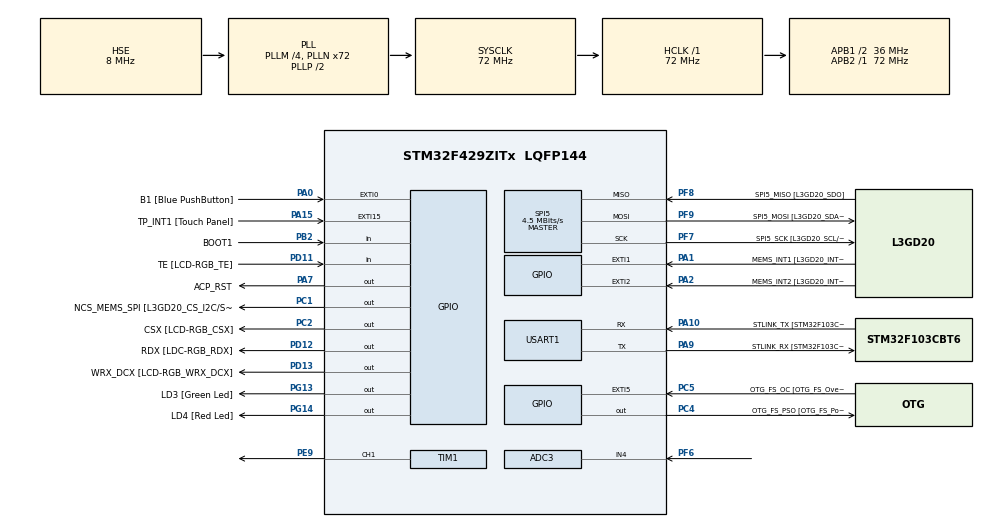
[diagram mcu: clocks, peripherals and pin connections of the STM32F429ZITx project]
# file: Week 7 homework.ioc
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ADC3.Channel-0\#ChannelRegularConversion=ADC_CHANNEL_4
ADC3.NbrOfConversionFlag=1
ADC3.Rank-0\#ChannelRegularConversion=1
ADC3.SamplingTime-0\#ChannelRegularConversion=ADC_SAMPLETIME_3CYCLES
Dma.Request0=TIM1_CH1
Dma.TIM1_CH1.0.Direction=DMA_MEMORY_TO_PERIPH
Dma.TIM1_CH1.0.FIFOMode=DMA_FIFOMODE_DISABLE
Dma.TIM1_CH1.0.Instance=DMA2_Stream1
Dma.TIM1_CH1.0.MemDataAlignment=DMA_MDATAALIGN_HALFWORD
Dma.TIM1_CH1.0.MemInc=DMA_MINC_ENABLE
Dma.TIM1_CH1.0.Mode=DMA_NORMAL
Dma.TIM1_CH1.0.PeriphDataAlignment=DMA_PDATAALIGN_HALFWORD
Dma.TIM1_CH1.0.PeriphInc=DMA_PINC_DISABLE
Dma.TIM1_CH1.0.Priority=DMA_PRIORITY_VERY_HIGH
Mcu.Family=STM32F4
Mcu.Name=STM32F429ZITx
Mcu.Package=LQFP144
NVIC.DMA2_Stream1_IRQn=true\:0\:0\:false\:false\:true\:false\:true\:true
NVIC.PriorityGroup=NVIC_PRIORITYGROUP_4
NVIC.TIM6_DAC_IRQn=true\:15\:0\:false\:false\:true\:false\:true\:true
NVIC.TimeBase=TIM6_DAC_IRQn
NVIC.TimeBaseIP=TIM6
PA0/WKUP.GPIO_Label=B1 [Blue PushButton]
PA0/WKUP.GPIO_ModeDefaultEXTI=GPIO_MODE_EVT_RISING
PA0/WKUP.GPIO_PuPd=GPIO_NOPULL
PA0/WKUP.Signal=GPXTI0
PA1.GPIO_Label=MEMS_INT1 [L3GD20_INT1]
PA1.GPIO_ModeDefaultEXTI=GPIO_MODE_EVT_RISING
PA1.GPIO_PuPd=GPIO_NOPULL
PA1.Signal=GPXTI1
PA10.GPIO_Label=STLINK_TX [STM32F103CBT6_PA2]
PA10.Mode=Asynchronous
PA10.Signal=USART1_RX
PA11.GPIO_Label=R4
PA11.GPIO_Mode=GPIO_MODE_AF_PP
PA11.GPIO_PuPd=GPIO_NOPULL
PA11.GPIO_Speed=GPIO_SPEED_FREQ_LOW
PA11.Signal=LTDC_R4
PA12.GPIO_Label=R5
PA12.GPIO_Mode=GPIO_MODE_AF_PP
PA12.GPIO_PuPd=GPIO_NOPULL
PA12.GPIO_Speed=GPIO_SPEED_FREQ_LOW
PA12.Signal=LTDC_R5
PA13.GPIO_Label=SWDIO
PA13.Mode=Serial_Wire
PA13.Signal=SYS_JTMS-SWDIO
PA14.GPIO_Label=SWCLK
PA14.Mode=Serial_Wire
PA14.Signal=SYS_JTCK-SWCLK
PA15.GPIO_Label=TP_INT1 [Touch Panel]
PA15.GPIO_ModeDefaultEXTI=GPIO_MODE_EVT_RISING
PA15.GPIO_PuPd=GPIO_NOPULL
PA15.Signal=GPXTI15
PA2.GPIO_Label=MEMS_INT2 [L3GD20_INT2]
PA2.GPIO_ModeDefaultEXTI=GPIO_MODE_EVT_RISING
PA2.GPIO_PuPd=GPIO_NOPULL
PA2.Signal=GPXTI2
PA3.GPIO_Label=B5
PA3.GPIO_Mode=GPIO_MODE_AF_PP
PA3.GPIO_PuPd=GPIO_NOPULL
PA3.GPIO_Speed=GPIO_SPEED_FREQ_LOW
PA3.Signal=LTDC_B5
PA4.GPIO_Label=VSYNC
PA4.GPIO_Mode=GPIO_MODE_AF_PP
PA4.GPIO_PuPd=GPIO_NOPULL
PA4.GPIO_Speed=GPIO_SPEED_FREQ_LOW
PA4.Signal=LTDC_VSYNC
PA6.GPIO_Label=G2
PA6.GPIO_Mode=GPIO_MODE_AF_PP
PA6.GPIO_PuPd=GPIO_NOPULL
PA6.GPIO_Speed=GPIO_SPEED_FREQ_LOW
PA6.Signal=LTDC_G2
PA7.GPIO_Label=ACP_RST
PA7.GPIO_Mode=GPIO_MODE_OUTPUT_PP
PA7.GPIO_PuPd=GPIO_NOPULL
PA7.GPIO_Speed=GPIO_SPEED_FREQ_LOW
PA7.Signal=GPIO_Output
PA8.GPIO_Label=I2C3_SCL [ACP/RF_SCL]
PA8.GPIO_Mode=GPIO_MODE_AF_OD
PA8.GPIO_Pu=GPIO_PULLUP
PA8.GPIO_PuPd=GPIO_NOPULL
PA8.GPIO_Speed=GPIO_SPEED_FREQ_LOW
PA8.Signal=I2C3_SCL
PA9.GPIO_Label=STLINK_RX [STM32F103CBT6_PA3]
PA9.Mode=Asynchronous
PA9.Signal=USART1_TX
PB0.GPIO_Label=R3
PB0.GPIO_Mode=GPIO_MODE_AF_PP
PB0.GPIO_PuPd=GPIO_NOPULL
PB0.GPIO_Speed=GPIO_SPEED_FREQ_LOW
PB0.Signal=LTDC_R3
PB1.GPIO_Label=R6
PB1.GPIO_Mode=GPIO_MODE_AF_PP
PB1.GPIO_PuPd=GPIO_NOPULL
PB1.GPIO_Speed=GPIO_SPEED_FREQ_LOW
PB1.Signal=LTDC_R6
PB10.GPIO_Label=G4
PB10.GPIO_Mode=GPIO_MODE_AF_PP
PB10.GPIO_PuPd=GPIO_NOPULL
PB10.GPIO_Speed=GPIO_SPEED_FREQ_LOW
PB10.Signal=LTDC_G4
PB11.GPIO_Label=G5
PB11.GPIO_Mode=GPIO_MODE_AF_PP
PB11.GPIO_PuPd=GPIO_NOPULL
PB11.GPIO_Speed=GPIO_SPEED_FREQ_LOW
PB11.Signal=LTDC_G5
PB12.GPIO_Label=OTG_HS_ID
PB12.GPIO_Mode=GPIO_MODE_AF_PP
PB12.GPIO_PuPd=GPIO_NOPULL
PB12.GPIO_Speed=GPIO_SPEED_FREQ_LOW
PB12.Signal=USB_OTG_HS_ID
PB13.GPIO_Label=VBUS_HS
PB13.GPIO_Mode=GPIO_MODE_INPUT
PB13.GPIO_PuPd=GPIO_NOPULL
PB13.Signal=USB_OTG_HS_VBUS
PB14.GPIO_Label=OTG_HS_DM
PB14.GPIO_Mode=GPIO_MODE_AF_PP
PB14.GPIO_PuPd=GPIO_NOPULL
PB14.GPIO_Speed=GPIO_SPEED_FREQ_LOW
PB14.Signal=USB_OTG_HS_DM
PB15.GPIO_Label=OTG_HS_DP
PB15.GPIO_Mode=GPIO_MODE_AF_PP
PB15.GPIO_PuPd=GPIO_NOPULL
PB15.GPIO_Speed=GPIO_SPEED_FREQ_LOW
PB15.Signal=USB_OTG_HS_DP
PB2/BOOT1.GPIO_Label=BOOT1
PB2/BOOT1.GPIO_Mode=GPIO_MODE_INPUT
PB2/BOOT1.GPIO_PuPd=GPIO_NOPULL
PB2/BOOT1.Signal=GPIO_Input
PB5.GPIO_Label=SDCKE1
PB5.GPIO_Mode=GPIO_MODE_AF_PP
PB5.GPIO_PuPd=GPIO_NOPULL
PB5.GPIO_Speed=GPIO_SPEED_FREQ_VERY_HIGH
PB5.Signal=FMC_SDCKE1
PB6.GPIO_Label=SDNE1 [SDRAM_CS]
PB6.GPIO_Mode=GPIO_MODE_AF_PP
PB6.GPIO_PuPd=GPIO_NOPULL
PB6.GPIO_Speed=GPIO_SPEED_FREQ_VERY_HIGH
PB6.Signal=FMC_SDNE1
PB8.GPIO_Label=B6
PB8.GPIO_Mode=GPIO_MODE_AF_PP
PB8.GPIO_PuPd=GPIO_NOPULL
PB8.GPIO_Speed=GPIO_SPEED_FREQ_LOW
PB8.Signal=LTDC_B6
PB9.GPIO_Label=B7
PB9.GPIO_Mode=GPIO_MODE_AF_PP
PB9.GPIO_PuPd=GPIO_NOPULL
PB9.GPIO_Speed=GPIO_SPEED_FREQ_LOW
PB9.Signal=LTDC_B7
PC0.GPIO_Label=SDNWE
PC0.GPIO_Mode=GPIO_MODE_AF_PP
PC0.GPIO_PuPd=GPIO_NOPULL
PC0.GPIO_Speed=GPIO_SPEED_FREQ_VERY_HIGH
PC0.Signal=FMC_SDNWE
PC1.GPIO_Label=NCS_MEMS_SPI [L3GD20_CS_I2C/SPI]
PC1.GPIO_Mode=GPIO_MODE_OUTPUT_PP
PC1.GPIO_PuPd=GPIO_NOPULL
PC1.GPIO_Speed=GPIO_SPEED_FREQ_LOW
PC1.Signal=GPIO_Output
PC10.GPIO_Label=R2
PC10.GPIO_Mode=GPIO_MODE_AF_PP
PC10.GPIO_PuPd=GPIO_NOPULL
PC10.GPIO_Speed=GPIO_SPEED_FREQ_LOW
PC10.Signal=LTDC_R2
PC14/OSC32_IN.GPIO_Label=PC14-OSC32_IN
PC14/OSC32_IN.Signal=RCC_OSC32_IN
PC15/OSC32_OUT.GPIO_Label=PC15-OSC32_OUT
PC15/OSC32_OUT.Signal=RCC_OSC32_OUT
PC2.GPIO_Label=CSX [LCD-RGB_CSX]
PC2.GPIO_Mode=GPIO_MODE_OUTPUT_PP
PC2.GPIO_PuPd=GPIO_NOPULL
PC2.GPIO_Speed=GPIO_SPEED_FREQ_LOW
PC2.Signal=GPIO_Output
PC4.GPIO_Label=OTG_FS_PSO [OTG_FS_PowerSwitchOn]
PC4.GPIO_Mode=GPIO_MODE_OUTPUT_PP
PC4.GPIO_PuPd=GPIO_NOPULL
PC4.GPIO_Speed=GPIO_SPEED_FREQ_LOW
PC4.Signal=GPIO_Output
PC5.GPIO_Label=OTG_FS_OC [OTG_FS_OverCurrent]
PC5.GPIO_ModeDefaultEXTI=GPIO_MODE_EVT_RISING
PC5.Signal=GPXTI5
PC6.GPIO_Label=HSYNC
PC6.GPIO_Mode=GPIO_MODE_AF_PP
PC6.GPIO_PuPd=GPIO_NOPULL
PC6.GPIO_Speed=GPIO_SPEED_FREQ_LOW
PC6.Signal=LTDC_HSYNC
PC7.GPIO_Label=G6
PC7.GPIO_Mode=GPIO_MODE_AF_PP
PC7.GPIO_PuPd=GPIO_NOPULL
PC7.GPIO_Speed=GPIO_SPEED_FREQ_LOW
PC7.Signal=LTDC_G6
PC9.GPIO_Label=I2C3_SDA [ACP/RF_SDA]
PC9.GPIO_Mode=GPIO_MODE_AF_OD
PC9.GPIO_Pu=GPIO_PULLUP
PC9.GPIO_PuPd=GPIO_NOPULL
PC9.GPIO_Speed=GPIO_SPEED_FREQ_LOW
PC9.Signal=I2C3_SDA
PD0.GPIO_Label=D2
PD0.GPIO_Mode=GPIO_MODE_AF_PP
PD0.GPIO_PuPd=GPIO_NOPULL
PD0.GPIO_Speed=GPIO_SPEED_FREQ_VERY_HIGH
PD0.Signal=FMC_D2_DA2
PD1.GPIO_Label=D3
PD1.GPIO_Mode=GPIO_MODE_AF_PP
PD1.GPIO_PuPd=GPIO_NOPULL
PD1.GPIO_Speed=GPIO_SPEED_FREQ_VERY_HIGH
PD1.Signal=FMC_D3_DA3
PD10.GPIO_Label=D15
PD10.GPIO_Mode=GPIO_MODE_AF_PP
PD10.GPIO_PuPd=GPIO_NOPULL
PD10.GPIO_Speed=GPIO_SPEED_FREQ_VERY_HIGH
PD10.Signal=FMC_D15_DA15
PD11.GPIO_Label=TE [LCD-RGB_TE]
PD11.GPIO_Mode=GPIO_MODE_INPUT
PD11.GPIO_PuPd=GPIO_NOPULL
PD11.Signal=GPIO_Input
PD12.GPIO_Label=RDX [LDC-RGB_RDX]
PD12.GPIO_Mode=GPIO_MODE_OUTPUT_PP
PD12.GPIO_PuPd=GPIO_NOPULL
PD12.GPIO_Speed=GPIO_SPEED_FREQ_LOW
PD12.Signal=GPIO_Output
PD13.GPIO_Label=WRX_DCX [LCD-RGB_WRX_DCX]
PD13.GPIO_Mode=GPIO_MODE_OUTPUT_PP
PD13.GPIO_PuPd=GPIO_NOPULL
PD13.GPIO_Speed=GPIO_SPEED_FREQ_LOW
PD13.Signal=GPIO_Output
PD14.GPIO_Label=D0
PD14.GPIO_Mode=GPIO_MODE_AF_PP
PD14.GPIO_PuPd=GPIO_NOPULL
PD14.GPIO_Speed=GPIO_SPEED_FREQ_VERY_HIGH
PD14.Signal=FMC_D0_DA0
PD15.GPIO_Label=D1
PD15.GPIO_Mode=GPIO_MODE_AF_PP
PD15.GPIO_PuPd=GPIO_NOPULL
PD15.GPIO_Speed=GPIO_SPEED_FREQ_VERY_HIGH
PD15.Signal=FMC_D1_DA1
PD3.GPIO_Label=G7
PD3.GPIO_Mode=GPIO_MODE_AF_PP
PD3.GPIO_PuPd=GPIO_NOPULL
PD3.GPIO_Speed=GPIO_SPEED_FREQ_LOW
PD3.Signal=LTDC_G7
PD6.GPIO_Label=B2
PD6.GPIO_Mode=GPIO_MODE_AF_PP
PD6.GPIO_PuPd=GPIO_NOPULL
PD6.GPIO_Speed=GPIO_SPEED_FREQ_LOW
PD6.Signal=LTDC_B2
PD8.GPIO_Label=D13
PD8.GPIO_Mode=GPIO_MODE_AF_PP
PD8.GPIO_PuPd=GPIO_NOPULL
PD8.GPIO_Speed=GPIO_SPEED_FREQ_VERY_HIGH
PD8.Signal=FMC_D13_DA13
PD9.GPIO_Label=D14
PD9.GPIO_Mode=GPIO_MODE_AF_PP
PD9.GPIO_PuPd=GPIO_NOPULL
PD9.GPIO_Speed=GPIO_SPEED_FREQ_VERY_HIGH
PD9.Signal=FMC_D14_DA14
PE0.GPIO_Label=NBL0 [SDRAM_LDQM]
PE0.GPIO_Mode=GPIO_MODE_AF_PP
PE0.GPIO_PuPd=GPIO_NOPULL
PE0.GPIO_Speed=GPIO_SPEED_FREQ_VERY_HIGH
PE0.Signal=FMC_NBL0
PE1.GPIO_Label=NBL1 [SDRAM_UDQM]
PE1.GPIO_Mode=GPIO_MODE_AF_PP
PE1.GPIO_PuPd=GPIO_NOPULL
PE1.GPIO_Speed=GPIO_SPEED_FREQ_VERY_HIGH
PE1.Signal=FMC_NBL1
PE10.GPIO_Label=D7
PE10.GPIO_Mode=GPIO_MODE_AF_PP
PE10.GPIO_PuPd=GPIO_NOPULL
PE10.GPIO_Speed=GPIO_SPEED_FREQ_VERY_HIGH
PE10.Signal=FMC_D7_DA7
PE11.GPIO_Label=D8
PE11.GPIO_Mode=GPIO_MODE_AF_PP
PE11.GPIO_PuPd=GPIO_NOPULL
PE11.GPIO_Speed=GPIO_SPEED_FREQ_VERY_HIGH
PE11.Signal=FMC_D8_DA8
PE12.GPIO_Label=D9
PE12.GPIO_Mode=GPIO_MODE_AF_PP
PE12.GPIO_PuPd=GPIO_NOPULL
PE12.GPIO_Speed=GPIO_SPEED_FREQ_VERY_HIGH
PE12.Signal=FMC_D9_DA9
PE13.GPIO_Label=D10
PE13.GPIO_Mode=GPIO_MODE_AF_PP
PE13.GPIO_PuPd=GPIO_NOPULL
PE13.GPIO_Speed=GPIO_SPEED_FREQ_VERY_HIGH
PE13.Signal=FMC_D10_DA10
PE14.GPIO_Label=D11
PE14.GPIO_Mode=GPIO_MODE_AF_PP
PE14.GPIO_PuPd=GPIO_NOPULL
PE14.GPIO_Speed=GPIO_SPEED_FREQ_VERY_HIGH
PE14.Signal=FMC_D11_DA11
PE15.GPIO_Label=D12
PE15.GPIO_Mode=GPIO_MODE_AF_PP
PE15.GPIO_PuPd=GPIO_NOPULL
PE15.GPIO_Speed=GPIO_SPEED_FREQ_VERY_HIGH
PE15.Signal=FMC_D12_DA12
PE7.GPIO_Label=D4
PE7.GPIO_Mode=GPIO_MODE_AF_PP
PE7.GPIO_PuPd=GPIO_NOPULL
PE7.GPIO_Speed=GPIO_SPEED_FREQ_VERY_HIGH
PE7.Signal=FMC_D4_DA4
PE8.GPIO_Label=D5
PE8.GPIO_Mode=GPIO_MODE_AF_PP
PE8.GPIO_PuPd=GPIO_NOPULL
PE8.GPIO_Speed=GPIO_SPEED_FREQ_VERY_HIGH
PE8.Signal=FMC_D5_DA5
PE9.Signal=S_TIM1_CH1
PF0.GPIO_Label=A0
PF0.GPIO_Mode=GPIO_MODE_AF_PP
PF0.GPIO_PuPd=GPIO_NOPULL
PF0.GPIO_Speed=GPIO_SPEED_FREQ_VERY_HIGH
PF0.Signal=FMC_A0
PF1.GPIO_Label=A1
PF1.GPIO_Mode=GPIO_MODE_AF_PP
PF1.GPIO_PuPd=GPIO_NOPULL
PF1.GPIO_Speed=GPIO_SPEED_FREQ_VERY_HIGH
PF1.Signal=FMC_A1
PF10.GPIO_Label=ENABLE [LCD-RGB_ENABLE]
PF10.GPIO_Mode=GPIO_MODE_AF_PP
PF10.GPIO_PuPd=GPIO_NOPULL
PF10.GPIO_Speed=GPIO_SPEED_FREQ_LOW
PF10.Signal=LTDC_DE
PF11.GPIO_Label=SDNRAS
PF11.GPIO_Mode=GPIO_MODE_AF_PP
PF11.GPIO_PuPd=GPIO_NOPULL
PF11.GPIO_Speed=GPIO_SPEED_FREQ_VERY_HIGH
PF11.Signal=FMC_SDNRAS
PF12.GPIO_Label=A6
PF12.GPIO_Mode=GPIO_MODE_AF_PP
PF12.GPIO_PuPd=GPIO_NOPULL
PF12.GPIO_Speed=GPIO_SPEED_FREQ_VERY_HIGH
PF12.Signal=FMC_A6
PF13.GPIO_Label=A7
PF13.GPIO_Mode=GPIO_MODE_AF_PP
PF13.GPIO_PuPd=GPIO_NOPULL
PF13.GPIO_Speed=GPIO_SPEED_FREQ_VERY_HIGH
PF13.Signal=FMC_A7
PF14.GPIO_Label=A8
PF14.GPIO_Mode=GPIO_MODE_AF_PP
PF14.GPIO_PuPd=GPIO_NOPULL
PF14.GPIO_Speed=GPIO_SPEED_FREQ_VERY_HIGH
PF14.Signal=FMC_A8
PF15.GPIO_Label=A9
PF15.GPIO_Mode=GPIO_MODE_AF_PP
PF15.GPIO_PuPd=GPIO_NOPULL
PF15.GPIO_Speed=GPIO_SPEED_FREQ_VERY_HIGH
PF15.Signal=FMC_A9
PF2.GPIO_Label=A2
PF2.GPIO_Mode=GPIO_MODE_AF_PP
PF2.GPIO_PuPd=GPIO_NOPULL
PF2.GPIO_Speed=GPIO_SPEED_FREQ_VERY_HIGH
PF2.Signal=FMC_A2
PF3.GPIO_Label=A3
PF3.GPIO_Mode=GPIO_MODE_AF_PP
PF3.GPIO_PuPd=GPIO_NOPULL
PF3.GPIO_Speed=GPIO_SPEED_FREQ_VERY_HIGH
PF3.Signal=FMC_A3
PF4.GPIO_Label=A4
PF4.GPIO_Mode=GPIO_MODE_AF_PP
PF4.GPIO_PuPd=GPIO_NOPULL
PF4.GPIO_Speed=GPIO_SPEED_FREQ_VERY_HIGH
PF4.Signal=FMC_A4
PF5.GPIO_Label=A5
PF5.GPIO_Mode=GPIO_MODE_AF_PP
PF5.GPIO_PuPd=GPIO_NOPULL
PF5.GPIO_Speed=GPIO_SPEED_FREQ_VERY_HIGH
PF5.Signal=FMC_A5
PF6.Mode=IN4
PF6.Signal=ADC3_IN4
PF7.GPIO_Label=SPI5_SCK [L3GD20_SCL/SPC]
PF7.GPIO_Mode=GPIO_MODE_AF_PP
PF7.GPIO_PuPd=GPIO_NOPULL
PF7.GPIO_Speed=GPIO_SPEED_FREQ_LOW
PF7.Mode=Full_Duplex_Master
PF7.Signal=SPI5_SCK
PF8.GPIO_Label=SPI5_MISO [L3GD20_SDO]
PF8.GPIO_Mode=GPIO_MODE_AF_PP
PF8.GPIO_PuPd=GPIO_NOPULL
PF8.GPIO_Speed=GPIO_SPEED_FREQ_LOW
PF8.Mode=Full_Duplex_Master
PF8.Signal=SPI5_MISO
PF9.GPIO_Label=SPI5_MOSI [L3GD20_SDA/SDI/SDO]
PF9.GPIO_Mode=GPIO_MODE_AF_PP
PF9.GPIO_PuPd=GPIO_NOPULL
PF9.GPIO_Speed=GPIO_SPEED_FREQ_LOW
PF9.Mode=Full_Duplex_Master
PF9.Signal=SPI5_MOSI
PG0.GPIO_Label=A10
PG0.GPIO_Mode=GPIO_MODE_AF_PP
PG0.GPIO_PuPd=GPIO_NOPULL
PG0.GPIO_Speed=GPIO_SPEED_FREQ_VERY_HIGH
PG0.Signal=FMC_A10
PG1.GPIO_Label=A11
PG1.GPIO_Mode=GPIO_MODE_AF_PP
PG1.GPIO_PuPd=GPIO_NOPULL
PG1.GPIO_Speed=GPIO_SPEED_FREQ_VERY_HIGH
PG1.Signal=FMC_A11
PG10.GPIO_Label=G3
PG10.GPIO_Mode=GPIO_MODE_AF_PP
PG10.GPIO_PuPd=GPIO_NOPULL
PG10.GPIO_Speed=GPIO_SPEED_FREQ_LOW
PG10.Signal=LTDC_G3
PG11.GPIO_Label=B3
PG11.GPIO_Mode=GPIO_MODE_AF_PP
PG11.GPIO_PuPd=GPIO_NOPULL
PG11.GPIO_Speed=GPIO_SPEED_FREQ_LOW
PG11.Signal=LTDC_B3
PG12.GPIO_Label=B4
PG12.GPIO_Mode=GPIO_MODE_AF_PP
PG12.GPIO_PuPd=GPIO_NOPULL
PG12.GPIO_Speed=GPIO_SPEED_FREQ_LOW
PG12.Signal=LTDC_B4
PG13.GPIO_Label=LD3 [Green Led]
PG13.GPIO_Mode=GPIO_MODE_OUTPUT_PP
PG13.GPIO_PuPd=GPIO_NOPULL
PG13.GPIO_Speed=GPIO_SPEED_FREQ_LOW
PG13.Signal=GPIO_Output
PG14.GPIO_Label=LD4 [Red Led]
PG14.GPIO_Mode=GPIO_MODE_OUTPUT_PP
PG14.GPIO_PuPd=GPIO_NOPULL
PG14.GPIO_Speed=GPIO_SPEED_FREQ_LOW
PG14.Signal=GPIO_Output
PG15.GPIO_Label=SDNCAS
PG15.GPIO_Mode=GPIO_MODE_AF_PP
PG15.GPIO_PuPd=GPIO_NOPULL
PG15.GPIO_Speed=GPIO_SPEED_FREQ_VERY_HIGH
PG15.Signal=FMC_SDNCAS
PG4.GPIO_Label=BA0
PG4.GPIO_Mode=GPIO_MODE_AF_PP
PG4.GPIO_PuPd=GPIO_NOPULL
PG4.GPIO_Speed=GPIO_SPEED_FREQ_VERY_HIGH
PG4.Signal=FMC_A14_BA0
PG5.GPIO_Label=BA1
PG5.GPIO_Mode=GPIO_MODE_AF_PP
PG5.GPIO_PuPd=GPIO_NOPULL
PG5.GPIO_Speed=GPIO_SPEED_FREQ_VERY_HIGH
PG5.Signal=FMC_A15_BA1
PG6.GPIO_Label=R7
PG6.GPIO_Mode=GPIO_MODE_AF_PP
PG6.GPIO_PuPd=GPIO_NOPULL
PG6.GPIO_Speed=GPIO_SPEED_FREQ_LOW
PG6.Signal=LTDC_R7
PG7.GPIO_Label=DOTCLK [LCT-RGB_DOTCLK]
PG7.GPIO_Mode=GPIO_MODE_AF_PP
PG7.GPIO_PuPd=GPIO_NOPULL
PG7.GPIO_Speed=GPIO_SPEED_FREQ_LOW
PG7.Signal=LTDC_CLK
PG8.GPIO_Label=SDCLK
PG8.GPIO_Mode=GPIO_MODE_AF_PP
PG8.GPIO_PuPd=GPIO_NOPULL
PG8.GPIO_Speed=GPIO_SPEED_FREQ_VERY_HIGH
PG8.Signal=FMC_SDCLK
PH0/OSC_IN.GPIO_Label=PH0-OSC_IN
PH0/OSC_IN.Mode=HSE-External-Oscillator
PH0/OSC_IN.Signal=RCC_OSC_IN
PH1/OSC_OUT.GPIO_Label=PH1-OSC_OUT
PH1/OSC_OUT.Mode=HSE-External-Oscillator
PH1/OSC_OUT.Signal=RCC_OSC_OUT
ProjectManager.HeapSize=0x200
ProjectManager.StackSize=0x400
ProjectManager.TargetToolchain=STM32CubeIDE
RCC.48MHZClocksFreq_Value=48000000
RCC.AHBFreq_Value=72000000
RCC.APB1CLKDivider=RCC_HCLK_DIV2
RCC.APB1Freq_Value=36000000
RCC.APB1TimFreq_Value=72000000
RCC.APB2Freq_Value=72000000
RCC.APB2TimFreq_Value=72000000
RCC.CortexFreq_Value=72000000
RCC.HCLKFreq_Value=72000000
RCC.HSE_VALUE=8000000
RCC.HSI_VALUE=16000000
RCC.LSE_VALUE=32768
RCC.PLLM=4
RCC.PLLN=72
RCC.PLLQ=3
RCC.PLLSAIN=50
RCC.PLLSourceVirtual=RCC_PLLSOURCE_HSE
RCC.SYSCLKFreq_VALUE=72000000
RCC.SYSCLKSource=RCC_SYSCLKSOURCE_PLLCLK
RCC.VCOOutputFreq_Value=144000000
SH.FMC_A0.0=FMC_A0
SH.FMC_A1.0=FMC_A1
SH.FMC_A10.0=FMC_A10
SH.FMC_A11.0=FMC_A11
SH.FMC_A14_BA0.0=FMC_BA0
SH.FMC_A15_BA1.0=FMC_BA1
SH.FMC_A2.0=FMC_A2
SH.FMC_A3.0=FMC_A3
SH.FMC_A4.0=FMC_A4
SH.FMC_A5.0=FMC_A5
SH.FMC_A6.0=FMC_A6
SH.FMC_A7.0=FMC_A7
SH.FMC_A8.0=FMC_A8
SH.FMC_A9.0=FMC_A9
SH.FMC_D0_DA0.0=FMC_D0
SH.FMC_D10_DA10.0=FMC_D10
SH.FMC_D11_DA11.0=FMC_D11
SH.FMC_D12_DA12.0=FMC_D12
SH.FMC_D13_DA13.0=FMC_D13
SH.FMC_D14_DA14.0=FMC_D14
SH.FMC_D15_DA15.0=FMC_D15
SH.FMC_D1_DA1.0=FMC_D1
SH.FMC_D2_DA2.0=FMC_D2
SH.FMC_D3_DA3.0=FMC_D3
SH.FMC_D4_DA4.0=FMC_D4
SH.FMC_D5_DA5.0=FMC_D5
SH.FMC_D7_DA7.0=FMC_D7
SH.FMC_D8_DA8.0=FMC_D8
SH.FMC_D9_DA9.0=FMC_D9
SH.FMC_NBL0.0=FMC_NBL0
SH.FMC_NBL1.0=FMC_NBL1
SH.FMC_SDCLK.0=FMC_SDCLK
SH.FMC_SDNCAS.0=FMC_SDNCAS
SH.FMC_SDNRAS.0=FMC_SDNRAS
SH.FMC_SDNWE.0=FMC_SDNWE
SH.S_TIM1_CH1.0=TIM1_CH1,PWM Generation1 CH1
SPI5.BaudRatePrescaler=SPI_BAUDRATEPRESCALER_16
SPI5.CalculateBaudRate=4.5 MBits/s
SPI5.Direction=SPI_DIRECTION_2LINES
SPI5.Mode=SPI_MODE_MASTER
SPI5.VirtualType=VM_MASTER
TIM1.Channel-PWM\ Generation1\ CH1=TIM_CHANNEL_1
TIM1.Period=90-1
USART1.VirtualMode=VM_ASYNC
VP_CRC_VS_CRC.Mode=CRC_Activate
VP_SYS_VS_tim6.Mode=TIM6
VP_TIM1_VS_ClockSourceINT.Mode=Internal
board=STM32F429I-DISC1

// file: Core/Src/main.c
/* USER CODE BEGIN Header */
/**
  ******************************************************************************
  * @file           : main.c
  * @brief          : Main program body
  ******************************************************************************
  * @attention
  *
  * Copyright (c) 2022 STMicroelectronics.
  * All rights reserved.
  *
  * This software is licensed under terms that can be found in the LICENSE file
  * in the root directory of this software component.
  * If no LICENSE file comes with this software, it is provided AS-IS.
  *
  ******************************************************************************
  */
/* USER CODE END Header */
#include "main.h"

/* USER CODE BEGIN Includes */
#include <math.h>
/* USER CODE END Includes */

/* USER CODE BEGIN PD */
#define MAX_LED 23
#define USE_BRIGHTNESS 0

/* USER CODE END PD */

 ADC_HandleTypeDef hadc3;

CRC_HandleTypeDef hcrc;

SPI_HandleTypeDef hspi5;

TIM_HandleTypeDef htim1;
DMA_HandleTypeDef hdma_tim1_ch1;

UART_HandleTypeDef huart1;

/* USER CODE BEGIN PV */

uint8_t LED_Data[MAX_LED][4];
uint8_t LED_Mod[MAX_LED][4];  // for brightness
//volatile int datasentflag = 0;

/* USER CODE END PV */

void SystemClock_Config(void);
static void MX_GPIO_Init(void);
static void MX_CRC_Init(void);
static void MX_SPI5_Init(void);
static void MX_DMA_Init(void);
static void MX_USART1_UART_Init(void);
static void MX_TIM1_Init(void);
static void MX_ADC3_Init(void);

/* USER CODE BEGIN 0 */

void Set_LED (int LEDnum, int Red, int Green, int Blue)
{
	LED_Data[LEDnum][0] = LEDnum;
	LED_Data[LEDnum][1] = Green;
	LED_Data[LEDnum][2] = Red;
	LED_Data[LEDnum][3] = Blue;
}

#define PI 3.14159265

void Set_Brightness (int brightness)  // 0-45
{
#if USE_BRIGHTNESS

	if (brightness > 45) brightness = 45;
	for (int i=0; i<MAX_LED; i++)
	{
		LED_Mod[i][0] = LED_Data[i][0];
		for (int j=1; j<4; j++)
		{
			float angle = 90-brightness;  // in degrees
			angle = angle*PI / 180;  // in rad
			LED_Mod[i][j] = (LED_Data[i][j])/(tan(angle));
		}
	}

#endif

}

uint16_t pwmData[(24*MAX_LED)+50];

void WS2812_Send (void)
{
	uint32_t indx=0;
	uint32_t color;

	for (int i= 0; i<MAX_LED; i++)
	{
#if USE_BRIGHTNESS
		color = ((LED_Mod[i][1]<<16) | (LED_Mod[i][2]<<8) | (LED_Mod[i][3]));
#else
		color = ((LED_Data[i][1]<<16) | (LED_Data[i][2]<<8) | (LED_Data[i][3]));
#endif

		for (int i=23; i>=0; i--)
		{
			if (color&(1<<i))
			{
				pwmData[indx] = 60;  // 2/3 of 90
			}

			else pwmData[indx] = 30;  // 1/3 of 90

			indx++;
		}

	}

	for (int i=0; i<50; i++)
	{
		pwmData[indx] = 0;
		indx++;
	}

	HAL_TIM_PWM_Start_DMA(&htim1, TIM_CHANNEL_1, (uint32_t *)pwmData, indx);
//	while (!datasentflag){};
//	datasentflag = 0;
}
/*

void HAL_TIM_PWM_PulseFinishedCallback(TIM_HandleTypeDef *htim)
{
	HAL_TIM_PWM_Stop_DMA(&htim1, TIM_CHANNEL_1);
//	datasentflag=1;
}
*/

/* USER CODE END 0 */

int main(void)
{

  /* MCU Configuration--------------------------------------------------------*/

  /* Reset of all peripherals, Initializes the Flash interface and the Systick. */
  HAL_Init();

  /* Configure the system clock */
  SystemClock_Config();

  /* Initialize all configured peripherals */
  MX_GPIO_Init();
  MX_CRC_Init();
  MX_SPI5_Init();
  MX_DMA_Init();
  MX_USART1_UART_Init();
  MX_TIM1_Init();
  MX_ADC3_Init();
  /* USER CODE BEGIN 2 */

  uint32_t adc_val = 0u;

  Set_LED(0, 255, 0, 0);
  Set_LED(1, 0, 255, 0);
  Set_LED(2, 0, 0, 255);
  Set_LED(3, 46, 89, 128);
  Set_LED(4, 156, 233, 100);
  Set_LED(5, 102, 0, 235);
  Set_LED(6, 47, 38, 77);
  Set_LED(7, 255, 200, 0);
  Set_LED(8, 255, 0, 0);
  Set_LED(9, 0, 255, 0);
  Set_LED(10, 0, 0, 255);
  Set_LED(11, 46, 89, 128);
  Set_LED(12, 156, 233, 100);
  Set_LED(13, 102, 0, 235);
  Set_LED(14, 47, 38, 77);
  Set_LED(15, 255, 200, 0);
  Set_LED(16, 255, 0, 0);
  Set_LED(17, 0, 255, 0);
  Set_LED(18, 0, 0, 255);
  Set_LED(19, 46, 89, 128);
  Set_LED(20, 156, 233, 100);
  Set_LED(21, 102, 0, 235);
  Set_LED(22, 47, 38, 77);

  for (uint8_t i=0; i<23; i++){
	  //Set_LED(i, 125, 125, 0); // yellow
	  //Set_LED(i, 255, 0, 0);  //red
	  //Set_LED(i, 0, 255, 0);  // green
	  //Set_LED(i, 0, 0, 255);  //blue
	  //Set_LED(i, 255, 255, 255);  //
  }
  WS2812_Send();
  //i = 100;

  /* USER CODE END 2 */

  /* Infinite loop */
  /* USER CODE BEGIN WHILE */
  while (1)
  {

/*

	  HAL_ADC_Start(&hadc3); // start the adc
	  HAL_ADC_PollForConversion(&hadc3, 0); // poll for conversion timeout value
	  adc_val = HAL_ADC_GetValue(&hadc3); // get the adc value

	  // 4096 is the maxx value read from adc potentiometer
	  if (adc_val < 150) {
		  adc_val = 0;
	  }
	  Set_Brightness( (adc_val * 45) / 4096 );  // 45 value for max brightness in this implementation
*/
	  //WS2812_Send();

	 // HAL_ADC_Stop(&hadc3); // stop adc

	  //for (uint8_t i=0; i<23; i++){
	//	  Set_LED(i, 125, 125, 0); // yellow
	 // }
	  //WS2812_Send();
	  //HAL_Delay (3000);
	  for (uint8_t i=0; i<23; i++){
		  Set_LED(i, 255, 0, 0);  //red
	  }
	  WS2812_Send();
	  //HAL_Delay (3000);
	  for (uint8_t i=0; i<23; i++){
		  Set_LED(i, 0, 255, 0);  // green
	  }
	  WS2812_Send();
	  //HAL_Delay (3000);

/*

	  for (int i=0; i<46; i++)
	  {
		  Set_Brightness(i);
		  WS2812_Send();
		  HAL_Delay (100);
	  }

	  for (int i=45; i>=0; i--)
	  {
		  Set_Brightness(i);
		  WS2812_Send();
		  HAL_Delay (100);
	  }

*/

    /* USER CODE END WHILE */

  }
}

void SystemClock_Config(void)
{
  RCC_OscInitTypeDef RCC_OscInitStruct = {0};
  RCC_ClkInitTypeDef RCC_ClkInitStruct = {0};

  /** Configure the main internal regulator output voltage
  */
  __HAL_RCC_PWR_CLK_ENABLE();
  __HAL_PWR_VOLTAGESCALING_CONFIG(PWR_REGULATOR_VOLTAGE_SCALE3);

  /** Initializes the RCC Oscillators according to the specified parameters
  * in the RCC_OscInitTypeDef structure.
  */
  RCC_OscInitStruct.OscillatorType = RCC_OSCILLATORTYPE_HSE;
  RCC_OscInitStruct.HSEState = RCC_HSE_ON;
  RCC_OscInitStruct.PLL.PLLState = RCC_PLL_ON;
  RCC_OscInitStruct.PLL.PLLSource = RCC_PLLSOURCE_HSE;
  RCC_OscInitStruct.PLL.PLLM = 4;
  RCC_OscInitStruct.PLL.PLLN = 72;
  RCC_OscInitStruct.PLL.PLLP = RCC_PLLP_DIV2;
  RCC_OscInitStruct.PLL.PLLQ = 3;
  if (HAL_RCC_OscConfig(&RCC_OscInitStruct) != HAL_OK)
  {
    Error_Handler();
  }

  /** Initializes the CPU, AHB and APB buses clocks
  */
  RCC_ClkInitStruct.ClockType = RCC_CLOCKTYPE_HCLK|RCC_CLOCKTYPE_SYSCLK
                              |RCC_CLOCKTYPE_PCLK1|RCC_CLOCKTYPE_PCLK2;
  RCC_ClkInitStruct.SYSCLKSource = RCC_SYSCLKSOURCE_PLLCLK;
  RCC_ClkInitStruct.AHBCLKDivider = RCC_SYSCLK_DIV1;
  RCC_ClkInitStruct.APB1CLKDivider = RCC_HCLK_DIV2;
  RCC_ClkInitStruct.APB2CLKDivider = RCC_HCLK_DIV1;

  if (HAL_RCC_ClockConfig(&RCC_ClkInitStruct, FLASH_LATENCY_2) != HAL_OK)
  {
    Error_Handler();
  }
}

static void MX_ADC3_Init(void)
{

  ADC_ChannelConfTypeDef sConfig = {0};

  /** Configure the global features of the ADC (Clock, Resolution, Data Alignment and number of conversion)
  */
  hadc3.Instance = ADC3;
  hadc3.Init.ClockPrescaler = ADC_CLOCK_SYNC_PCLK_DIV2;
  hadc3.Init.Resolution = ADC_RESOLUTION_12B;
  hadc3.Init.ScanConvMode = DISABLE;
  hadc3.Init.ContinuousConvMode = DISABLE;
  hadc3.Init.DiscontinuousConvMode = DISABLE;
  hadc3.Init.ExternalTrigConvEdge = ADC_EXTERNALTRIGCONVEDGE_NONE;
  hadc3.Init.ExternalTrigConv = ADC_SOFTWARE_START;
  hadc3.Init.DataAlign = ADC_DATAALIGN_RIGHT;
  hadc3.Init.NbrOfConversion = 1;
  hadc3.Init.DMAContinuousRequests = DISABLE;
  hadc3.Init.EOCSelection = ADC_EOC_SINGLE_CONV;
  if (HAL_ADC_Init(&hadc3) != HAL_OK)
  {
    Error_Handler();
  }

  /** Configure for the selected ADC regular channel its corresponding rank in the sequencer and its sample time.
  */
  sConfig.Channel = ADC_CHANNEL_4;
  sConfig.Rank = 1;
  sConfig.SamplingTime = ADC_SAMPLETIME_3CYCLES;
  if (HAL_ADC_ConfigChannel(&hadc3, &sConfig) != HAL_OK)
  {
    Error_Handler();
  }

}

static void MX_CRC_Init(void)
{

  hcrc.Instance = CRC;
  if (HAL_CRC_Init(&hcrc) != HAL_OK)
  {
    Error_Handler();
  }

}

static void MX_SPI5_Init(void)
{

  /* SPI5 parameter configuration*/
  hspi5.Instance = SPI5;
  hspi5.Init.Mode = SPI_MODE_MASTER;
  hspi5.Init.Direction = SPI_DIRECTION_2LINES;
  hspi5.Init.DataSize = SPI_DATASIZE_8BIT;
  hspi5.Init.CLKPolarity = SPI_POLARITY_LOW;
  hspi5.Init.CLKPhase = SPI_PHASE_1EDGE;
  hspi5.Init.NSS = SPI_NSS_SOFT;
  hspi5.Init.BaudRatePrescaler = SPI_BAUDRATEPRESCALER_16;
  hspi5.Init.FirstBit = SPI_FIRSTBIT_MSB;
  hspi5.Init.TIMode = SPI_TIMODE_DISABLE;
  hspi5.Init.CRCCalculation = SPI_CRCCALCULATION_DISABLE;
  hspi5.Init.CRCPolynomial = 10;
  if (HAL_SPI_Init(&hspi5) != HAL_OK)
  {
    Error_Handler();
  }

}

static void MX_TIM1_Init(void)
{

  TIM_ClockConfigTypeDef sClockSourceConfig = {0};
  TIM_MasterConfigTypeDef sMasterConfig = {0};
  TIM_OC_InitTypeDef sConfigOC = {0};
  TIM_BreakDeadTimeConfigTypeDef sBreakDeadTimeConfig = {0};

  htim1.Instance = TIM1;
  htim1.Init.Prescaler = 0;
  htim1.Init.CounterMode = TIM_COUNTERMODE_UP;
  htim1.Init.Period = 90-1;
  htim1.Init.ClockDivision = TIM_CLOCKDIVISION_DIV1;
  htim1.Init.RepetitionCounter = 0;
  htim1.Init.AutoReloadPreload = TIM_AUTORELOAD_PRELOAD_DISABLE;
  if (HAL_TIM_Base_Init(&htim1) != HAL_OK)
  {
    Error_Handler();
  }
  sClockSourceConfig.ClockSource = TIM_CLOCKSOURCE_INTERNAL;
  if (HAL_TIM_ConfigClockSource(&htim1, &sClockSourceConfig) != HAL_OK)
  {
    Error_Handler();
  }
  if (HAL_TIM_PWM_Init(&htim1) != HAL_OK)
  {
    Error_Handler();
  }
  sMasterConfig.MasterOutputTrigger = TIM_TRGO_RESET;
  sMasterConfig.MasterSlaveMode = TIM_MASTERSLAVEMODE_DISABLE;
  if (HAL_TIMEx_MasterConfigSynchronization(&htim1, &sMasterConfig) != HAL_OK)
  {
    Error_Handler();
  }
  sConfigOC.OCMode = TIM_OCMODE_PWM1;
  sConfigOC.Pulse = 0;
  sConfigOC.OCPolarity = TIM_OCPOLARITY_HIGH;
  sConfigOC.OCNPolarity = TIM_OCNPOLARITY_HIGH;
  sConfigOC.OCFastMode = TIM_OCFAST_DISABLE;
  sConfigOC.OCIdleState = TIM_OCIDLESTATE_RESET;
  sConfigOC.OCNIdleState = TIM_OCNIDLESTATE_RESET;
  if (HAL_TIM_PWM_ConfigChannel(&htim1, &sConfigOC, TIM_CHANNEL_1) != HAL_OK)
  {
    Error_Handler();
  }
  sBreakDeadTimeConfig.OffStateRunMode = TIM_OSSR_DISABLE;
  sBreakDeadTimeConfig.OffStateIDLEMode = TIM_OSSI_DISABLE;
  sBreakDeadTimeConfig.LockLevel = TIM_LOCKLEVEL_OFF;
  sBreakDeadTimeConfig.DeadTime = 0;
  sBreakDeadTimeConfig.BreakState = TIM_BREAK_DISABLE;
  sBreakDeadTimeConfig.BreakPolarity = TIM_BREAKPOLARITY_HIGH;
  sBreakDeadTimeConfig.AutomaticOutput = TIM_AUTOMATICOUTPUT_DISABLE;
  if (HAL_TIMEx_ConfigBreakDeadTime(&htim1, &sBreakDeadTimeConfig) != HAL_OK)
  {
    Error_Handler();
  }
  HAL_TIM_MspPostInit(&htim1);

}

static void MX_USART1_UART_Init(void)
{

  huart1.Instance = USART1;
  huart1.Init.BaudRate = 115200;
  huart1.Init.WordLength = UART_WORDLENGTH_8B;
  huart1.Init.StopBits = UART_STOPBITS_1;
  huart1.Init.Parity = UART_PARITY_NONE;
  huart1.Init.Mode = UART_MODE_TX_RX;
  huart1.Init.HwFlowCtl = UART_HWCONTROL_NONE;
  huart1.Init.OverSampling = UART_OVERSAMPLING_16;
  if (HAL_UART_Init(&huart1) != HAL_OK)
  {
    Error_Handler();
  }

}

static void MX_DMA_Init(void)
{

  /* DMA controller clock enable */
  __HAL_RCC_DMA2_CLK_ENABLE();

  /* DMA interrupt init */
  /* DMA2_Stream1_IRQn interrupt configuration */
  HAL_NVIC_SetPriority(DMA2_Stream1_IRQn, 0, 0);
  HAL_NVIC_EnableIRQ(DMA2_Stream1_IRQn);

}

static void MX_GPIO_Init(void)
{
  GPIO_InitTypeDef GPIO_InitStruct = {0};

  /* GPIO Ports Clock Enable */
  __HAL_RCC_GPIOC_CLK_ENABLE();
  __HAL_RCC_GPIOF_CLK_ENABLE();
  __HAL_RCC_GPIOH_CLK_ENABLE();
  __HAL_RCC_GPIOA_CLK_ENABLE();
  __HAL_RCC_GPIOB_CLK_ENABLE();
  __HAL_RCC_GPIOG_CLK_ENABLE();
  __HAL_RCC_GPIOE_CLK_ENABLE();
  __HAL_RCC_GPIOD_CLK_ENABLE();

  /*Configure GPIO pin Output Level */
  HAL_GPIO_WritePin(GPIOC, NCS_MEMS_SPI_Pin|CSX_Pin|OTG_FS_PSO_Pin, GPIO_PIN_RESET);

  /*Configure GPIO pin Output Level */
  HAL_GPIO_WritePin(ACP_RST_GPIO_Port, ACP_RST_Pin, GPIO_PIN_RESET);

  /*Configure GPIO pin Output Level */
  HAL_GPIO_WritePin(GPIOD, RDX_Pin|WRX_DCX_Pin, GPIO_PIN_RESET);

  /*Configure GPIO pin Output Level */
  HAL_GPIO_WritePin(GPIOG, LD3_Pin|LD4_Pin, GPIO_PIN_RESET);

  /*Configure GPIO pins : A0_Pin A1_Pin A2_Pin A3_Pin
                           A4_Pin A5_Pin SDNRAS_Pin A6_Pin
                           A7_Pin A8_Pin A9_Pin */
  GPIO_InitStruct.Pin = A0_Pin|A1_Pin|A2_Pin|A3_Pin
                          |A4_Pin|A5_Pin|SDNRAS_Pin|A6_Pin
                          |A7_Pin|A8_Pin|A9_Pin;
  GPIO_InitStruct.Mode = GPIO_MODE_AF_PP;
  GPIO_InitStruct.Pull = GPIO_NOPULL;
  GPIO_InitStruct.Speed = GPIO_SPEED_FREQ_VERY_HIGH;
  GPIO_InitStruct.Alternate = GPIO_AF12_FMC;
  HAL_GPIO_Init(GPIOF, &GPIO_InitStruct);

  /*Configure GPIO pin : ENABLE_Pin */
  GPIO_InitStruct.Pin = ENABLE_Pin;
  GPIO_InitStruct.Mode = GPIO_MODE_AF_PP;
  GPIO_InitStruct.Pull = GPIO_NOPULL;
  GPIO_InitStruct.Speed = GPIO_SPEED_FREQ_LOW;
  GPIO_InitStruct.Alternate = GPIO_AF14_LTDC;
  HAL_GPIO_Init(ENABLE_GPIO_Port, &GPIO_InitStruct);

  /*Configure GPIO pin : SDNWE_Pin */
  GPIO_InitStruct.Pin = SDNWE_Pin;
  GPIO_InitStruct.Mode = GPIO_MODE_AF_PP;
  GPIO_InitStruct.Pull = GPIO_NOPULL;
  GPIO_InitStruct.Speed = GPIO_SPEED_FREQ_VERY_HIGH;
  GPIO_InitStruct.Alternate = GPIO_AF12_FMC;
  HAL_GPIO_Init(SDNWE_GPIO_Port, &GPIO_InitStruct);

  /*Configure GPIO pins : NCS_MEMS_SPI_Pin CSX_Pin OTG_FS_PSO_Pin */
  GPIO_InitStruct.Pin = NCS_MEMS_SPI_Pin|CSX_Pin|OTG_FS_PSO_Pin;
  GPIO_InitStruct.Mode = GPIO_MODE_OUTPUT_PP;
  GPIO_InitStruct.Pull = GPIO_NOPULL;
  GPIO_InitStruct.Speed = GPIO_SPEED_FREQ_LOW;
  HAL_GPIO_Init(GPIOC, &GPIO_InitStruct);

  /*Configure GPIO pins : B1_Pin MEMS_INT1_Pin MEMS_INT2_Pin TP_INT1_Pin */
  GPIO_InitStruct.Pin = B1_Pin|MEMS_INT1_Pin|MEMS_INT2_Pin|TP_INT1_Pin;
  GPIO_InitStruct.Mode = GPIO_MODE_EVT_RISING;
  GPIO_InitStruct.Pull = GPIO_NOPULL;
  HAL_GPIO_Init(GPIOA, &GPIO_InitStruct);

  /*Configure GPIO pins : B5_Pin VSYNC_Pin G2_Pin R4_Pin
                           R5_Pin */
  GPIO_InitStruct.Pin = B5_Pin|VSYNC_Pin|G2_Pin|R4_Pin
                          |R5_Pin;
  GPIO_InitStruct.Mode = GPIO_MODE_AF_PP;
  GPIO_InitStruct.Pull = GPIO_NOPULL;
  GPIO_InitStruct.Speed = GPIO_SPEED_FREQ_LOW;
  GPIO_InitStruct.Alternate = GPIO_AF14_LTDC;
  HAL_GPIO_Init(GPIOA, &GPIO_InitStruct);

  /*Configure GPIO pin : ACP_RST_Pin */
  GPIO_InitStruct.Pin = ACP_RST_Pin;
  GPIO_InitStruct.Mode = GPIO_MODE_OUTPUT_PP;
  GPIO_InitStruct.Pull = GPIO_NOPULL;
  GPIO_InitStruct.Speed = GPIO_SPEED_FREQ_LOW;
  HAL_GPIO_Init(ACP_RST_GPIO_Port, &GPIO_InitStruct);

  /*Configure GPIO pin : OTG_FS_OC_Pin */
  GPIO_InitStruct.Pin = OTG_FS_OC_Pin;
  GPIO_InitStruct.Mode = GPIO_MODE_EVT_RISING;
  GPIO_InitStruct.Pull = GPIO_NOPULL;
  HAL_GPIO_Init(OTG_FS_OC_GPIO_Port, &GPIO_InitStruct);

  /*Configure GPIO pins : R3_Pin R6_Pin */
  GPIO_InitStruct.Pin = R3_Pin|R6_Pin;
  GPIO_InitStruct.Mode = GPIO_MODE_AF_PP;
  GPIO_InitStruct.Pull = GPIO_NOPULL;
  GPIO_InitStruct.Speed = GPIO_SPEED_FREQ_LOW;
  GPIO_InitStruct.Alternate = GPIO_AF9_LTDC;
  HAL_GPIO_Init(GPIOB, &GPIO_InitStruct);

  /*Configure GPIO pin : BOOT1_Pin */
  GPIO_InitStruct.Pin = BOOT1_Pin;
  GPIO_InitStruct.Mode = GPIO_MODE_INPUT;
  GPIO_InitStruct.Pull = GPIO_NOPULL;
  HAL_GPIO_Init(BOOT1_GPIO_Port, &GPIO_InitStruct);

  /*Configure GPIO pins : A10_Pin A11_Pin BA0_Pin BA1_Pin
                           SDCLK_Pin SDNCAS_Pin */
  GPIO_InitStruct.Pin = A10_Pin|A11_Pin|BA0_Pin|BA1_Pin
                          |SDCLK_Pin|SDNCAS_Pin;
  GPIO_InitStruct.Mode = GPIO_MODE_AF_PP;
  GPIO_InitStruct.Pull = GPIO_NOPULL;
  GPIO_InitStruct.Speed = GPIO_SPEED_FREQ_VERY_HIGH;
  GPIO_InitStruct.Alternate = GPIO_AF12_FMC;
  HAL_GPIO_Init(GPIOG, &GPIO_InitStruct);

  /*Configure GPIO pins : D4_Pin D5_Pin D7_Pin D8_Pin
                           D9_Pin D10_Pin D11_Pin D12_Pin
                           NBL0_Pin NBL1_Pin */
  GPIO_InitStruct.Pin = D4_Pin|D5_Pin|D7_Pin|D8_Pin
                          |D9_Pin|D10_Pin|D11_Pin|D12_Pin
                          |NBL0_Pin|NBL1_Pin;
  GPIO_InitStruct.Mode = GPIO_MODE_AF_PP;
  GPIO_InitStruct.Pull = GPIO_NOPULL;
  GPIO_InitStruct.Speed = GPIO_SPEED_FREQ_VERY_HIGH;
  GPIO_InitStruct.Alternate = GPIO_AF12_FMC;
  HAL_GPIO_Init(GPIOE, &GPIO_InitStruct);

  /*Configure GPIO pins : G4_Pin G5_Pin B6_Pin B7_Pin */
  GPIO_InitStruct.Pin = G4_Pin|G5_Pin|B6_Pin|B7_Pin;
  GPIO_InitStruct.Mode = GPIO_MODE_AF_PP;
  GPIO_InitStruct.Pull = GPIO_NOPULL;
  GPIO_InitStruct.Speed = GPIO_SPEED_FREQ_LOW;
  GPIO_InitStruct.Alternate = GPIO_AF14_LTDC;
  HAL_GPIO_Init(GPIOB, &GPIO_InitStruct);

  /*Configure GPIO pins : OTG_HS_ID_Pin OTG_HS_DM_Pin OTG_HS_DP_Pin */
  GPIO_InitStruct.Pin = OTG_HS_ID_Pin|OTG_HS_DM_Pin|OTG_HS_DP_Pin;
  GPIO_InitStruct.Mode = GPIO_MODE_AF_PP;
  GPIO_InitStruct.Pull = GPIO_NOPULL;
  GPIO_InitStruct.Speed = GPIO_SPEED_FREQ_LOW;
  GPIO_InitStruct.Alternate = GPIO_AF12_OTG_HS_FS;
  HAL_GPIO_Init(GPIOB, &GPIO_InitStruct);

  /*Configure GPIO pin : VBUS_HS_Pin */
  GPIO_InitStruct.Pin = VBUS_HS_Pin;
  GPIO_InitStruct.Mode = GPIO_MODE_INPUT;
  GPIO_InitStruct.Pull = GPIO_NOPULL;
  HAL_GPIO_Init(VBUS_HS_GPIO_Port, &GPIO_InitStruct);

  /*Configure GPIO pins : D13_Pin D14_Pin D15_Pin D0_Pin
                           D1_Pin D2_Pin D3_Pin */
  GPIO_InitStruct.Pin = D13_Pin|D14_Pin|D15_Pin|D0_Pin
                          |D1_Pin|D2_Pin|D3_Pin;
  GPIO_InitStruct.Mode = GPIO_MODE_AF_PP;
  GPIO_InitStruct.Pull = GPIO_NOPULL;
  GPIO_InitStruct.Speed = GPIO_SPEED_FREQ_VERY_HIGH;
  GPIO_InitStruct.Alternate = GPIO_AF12_FMC;
  HAL_GPIO_Init(GPIOD, &GPIO_InitStruct);

  /*Configure GPIO pin : TE_Pin */
  GPIO_InitStruct.Pin = TE_Pin;
  GPIO_InitStruct.Mode = GPIO_MODE_INPUT;
  GPIO_InitStruct.Pull = GPIO_NOPULL;
  HAL_GPIO_Init(TE_GPIO_Port, &GPIO_InitStruct);

  /*Configure GPIO pins : RDX_Pin WRX_DCX_Pin */
  GPIO_InitStruct.Pin = RDX_Pin|WRX_DCX_Pin;
  GPIO_InitStruct.Mode = GPIO_MODE_OUTPUT_PP;
  GPIO_InitStruct.Pull = GPIO_NOPULL;
  GPIO_InitStruct.Speed = GPIO_SPEED_FREQ_LOW;
  HAL_GPIO_Init(GPIOD, &GPIO_InitStruct);

  /*Configure GPIO pins : R7_Pin DOTCLK_Pin B3_Pin */
  GPIO_InitStruct.Pin = R7_Pin|DOTCLK_Pin|B3_Pin;
  GPIO_InitStruct.Mode = GPIO_MODE_AF_PP;
  GPIO_InitStruct.Pull = GPIO_NOPULL;
  GPIO_InitStruct.Speed = GPIO_SPEED_FREQ_LOW;
  GPIO_InitStruct.Alternate = GPIO_AF14_LTDC;
  HAL_GPIO_Init(GPIOG, &GPIO_InitStruct);

  /*Configure GPIO pins : HSYNC_Pin G6_Pin R2_Pin */
  GPIO_InitStruct.Pin = HSYNC_Pin|G6_Pin|R2_Pin;
  GPIO_InitStruct.Mode = GPIO_MODE_AF_PP;
  GPIO_InitStruct.Pull = GPIO_NOPULL;
  GPIO_InitStruct.Speed = GPIO_SPEED_FREQ_LOW;
  GPIO_InitStruct.Alternate = GPIO_AF14_LTDC;
  HAL_GPIO_Init(GPIOC, &GPIO_InitStruct);

  /*Configure GPIO pin : I2C3_SDA_Pin */
  GPIO_InitStruct.Pin = I2C3_SDA_Pin;
  GPIO_InitStruct.Mode = GPIO_MODE_AF_OD;
  GPIO_InitStruct.Pull = GPIO_PULLUP;
  GPIO_InitStruct.Speed = GPIO_SPEED_FREQ_LOW;
  GPIO_InitStruct.Alternate = GPIO_AF4_I2C3;
  HAL_GPIO_Init(I2C3_SDA_GPIO_Port, &GPIO_InitStruct);

  /*Configure GPIO pin : I2C3_SCL_Pin */
  GPIO_InitStruct.Pin = I2C3_SCL_Pin;
  GPIO_InitStruct.Mode = GPIO_MODE_AF_OD;
  GPIO_InitStruct.Pull = GPIO_PULLUP;
  GPIO_InitStruct.Speed = GPIO_SPEED_FREQ_LOW;
  GPIO_InitStruct.Alternate = GPIO_AF4_I2C3;
  HAL_GPIO_Init(I2C3_SCL_GPIO_Port, &GPIO_InitStruct);

  /*Configure GPIO pins : G7_Pin B2_Pin */
  GPIO_InitStruct.Pin = G7_Pin|B2_Pin;
  GPIO_InitStruct.Mode = GPIO_MODE_AF_PP;
  GPIO_InitStruct.Pull = GPIO_NOPULL;
  GPIO_InitStruct.Speed = GPIO_SPEED_FREQ_LOW;
  GPIO_InitStruct.Alternate = GPIO_AF14_LTDC;
  HAL_GPIO_Init(GPIOD, &GPIO_InitStruct);

  /*Configure GPIO pins : G3_Pin B4_Pin */
  GPIO_InitStruct.Pin = G3_Pin|B4_Pin;
  GPIO_InitStruct.Mode = GPIO_MODE_AF_PP;
  GPIO_InitStruct.Pull = GPIO_NOPULL;
  GPIO_InitStruct.Speed = GPIO_SPEED_FREQ_LOW;
  GPIO_InitStruct.Alternate = GPIO_AF9_LTDC;
  HAL_GPIO_Init(GPIOG, &GPIO_InitStruct);

  /*Configure GPIO pins : LD3_Pin LD4_Pin */
  GPIO_InitStruct.Pin = LD3_Pin|LD4_Pin;
  GPIO_InitStruct.Mode = GPIO_MODE_OUTPUT_PP;
  GPIO_InitStruct.Pull = GPIO_NOPULL;
  GPIO_InitStruct.Speed = GPIO_SPEED_FREQ_LOW;
  HAL_GPIO_Init(GPIOG, &GPIO_InitStruct);

  /*Configure GPIO pins : SDCKE1_Pin SDNE1_Pin */
  GPIO_InitStruct.Pin = SDCKE1_Pin|SDNE1_Pin;
  GPIO_InitStruct.Mode = GPIO_MODE_AF_PP;
  GPIO_InitStruct.Pull = GPIO_NOPULL;
  GPIO_InitStruct.Speed = GPIO_SPEED_FREQ_VERY_HIGH;
  GPIO_InitStruct.Alternate = GPIO_AF12_FMC;
  HAL_GPIO_Init(GPIOB, &GPIO_InitStruct);

}

void HAL_TIM_PeriodElapsedCallback(TIM_HandleTypeDef *htim)
{
  if (htim->Instance == TIM6) {
    HAL_IncTick();
  }
}

void Error_Handler(void)
{
  __disable_irq();
  while (1)
  {
  }
}
